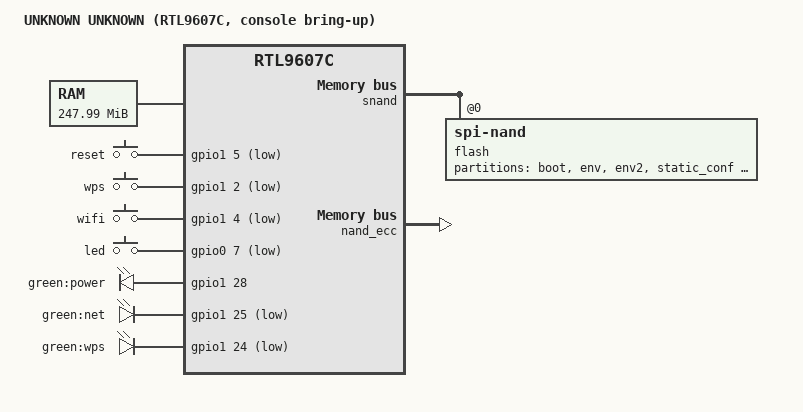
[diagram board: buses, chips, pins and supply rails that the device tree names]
// SPDX-License-Identifier: GPL-2.0-or-later
/dts-v1/;

#include "rtl9607c.dtsi"

/ {
	model = "UNKNOWN UNKNOWN (RTL9607C, console bring-up)";
	compatible = "unknown,rtl9607c-unknown", "realtek,rtl9607c", "rtk,8198d";

	aliases {
		serial0 = &uart0;
	};

	chosen {
		stdout-path = "serial0:115200n8";
	};

	/* This unit's low RAM map, bounded by bdinfo's 256 MiB; fitted RAM is unknown. */
	memory@0 {
		reg = <0x00000000 0x0bbff000>, <0x0c000000 0x03bff000>;
	};

	reserved-memory {
		/delete-node/ ipc-shm@10000000;

		pbo-dl@bbff000 {
			no-map;
			reg = <0x0bbff000 0x00401000>;
		};

		pbo-ul@fbff000 {
			no-map;
			reg = <0x0fbff000 0x00401000>;
		};
	};

	/delete-node/ board_setting;
	/* Panel buttons and lamps, from this unit's native kernel (its push-button and
	 * LED board hooks): every button reads pressed = low; the power lamp is lit
	 * high, the others low. GPIO 20 (its phone lamp) is left out. */
	keys {
		compatible = "gpio-keys-polled";
		poll-interval = <100>;

		button-reset {
			label = "reset";
			linux,code = <0x198>;	/* KEY_RESTART */
			gpios = <&gpio1 5 1>;	/* GPIO 37 */
		};

		button-wps {
			label = "wps";
			linux,code = <0x211>;	/* KEY_WPS_BUTTON */
			gpios = <&gpio1 2 1>;	/* GPIO 34 */
		};

		button-wifi {
			label = "wifi";
			linux,code = <0xf7>;	/* KEY_RFKILL */
			gpios = <&gpio1 4 1>;	/* GPIO 36 */
		};

		button-led {
			label = "led";
			linux,code = <0x21e>;	/* KEY_LIGHTS_TOGGLE */
			gpios = <&gpio0 7 1>;	/* GPIO 7 */
		};
	};

	leds {
		compatible = "gpio-leds";

		led-power {
			label = "green:power";
			gpios = <&gpio1 28 0>;	/* GPIO 60 */
			default-state = "on";
		};

		led-net {
			label = "green:net";
			gpios = <&gpio1 25 1>;	/* GPIO 57 */
		};

		led-wps {
			label = "green:wps";
			gpios = <&gpio1 24 1>;	/* GPIO 56 */
		};
	};

	/* ethernet@18012000 KEPT (2026-09-29): luna_eth binds it and needs none of
	 * the nodes deleted here; the LAN address comes from 09-luna-lan-addr (.14). */
	/delete-node/ switch@0;
	/delete-node/ soft_ipc@18141180;
	/delete-node/ usb@0;
	/delete-node/ usb@1;
	/delete-node/ usb@2;
};

/* 256 MiB Micron MT29F2G01ABAGD, the vendor BCH6 layout (on-die ECC off). U-Boot's map:
 * UBI 0x140000-0xfb00000 holds both banks (ubi_k0/r0 native, ubi_k1/r1 ours).
 * Writable: the U-Boot environment (bank variables) and UBI (bank 1); U-Boot, static_conf and
 * the tail stay read-only. Fork 5dbe2493e2 is the all-read-only image for a first read proof. */
&snand {
	status = "okay";

	flash@0 {
		compatible = "spi-nand";
		reg = <0>;
		nand-ecc-engine = <&nand_ecc>;
		nand-ecc-strength = <6>;
		nand-ecc-step-size = <512>;
		nand-ecc-algo = "bch";
		nand-ecc-placement = "oob";

		partitions {
			compatible = "fixed-partitions";
			#address-cells = <1>;
			#size-cells = <1>;

			partition@0 {
				label = "boot";
				reg = <0x0 0xc0000>;
				read-only;
			};

			partition@c0000 {
				label = "env";
				reg = <0xc0000 0x20000>;
			};

			partition@e0000 {
				label = "env2";
				reg = <0xe0000 0x20000>;
			};

			partition@100000 {
				label = "static_conf";
				reg = <0x100000 0x40000>;
				read-only;
			};

			partition@140000 {
				label = "ubi";
				reg = <0x140000 0xf9c0000>;
			};

			partition@fb00000 {
				label = "reserved";
				reg = <0xfb00000 0x500000>;
				read-only;
			};
		};
	};
};

&nand_ecc {
	status = "okay";
};
